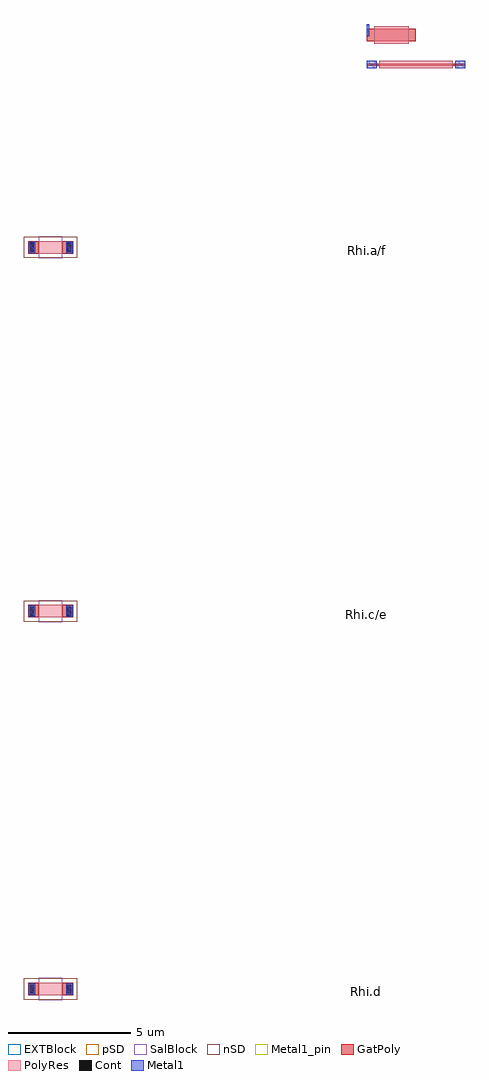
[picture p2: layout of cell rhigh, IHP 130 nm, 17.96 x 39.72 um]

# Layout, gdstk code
import gdstk
lib = gdstk.Library(unit=1e-6, precision=1e-09)
def R(c, l, rs):  # rectangles x0, y0, x1, y1
    for r in rs: c.add(gdstk.rectangle(r[:2], r[2:], *l))
def P(c, l, *ps):  # polygons
    for p in ps: c.add(gdstk.Polygon(p, *l))
GatPoly = (5, 0)
Cont = (6, 0)
nSD = (7, 0)
Metal1 = (8, 0)
Metal1_pin = (8, 2)
pSD = (14, 0)
SalBlock = (28, 0)
EXTBlock = (111, 0)
PolyRes = (128, 0)

rhigh_fail = lib.new_cell('rhigh_fail')
R(rhigh_fail, GatPoly, [(0,0,4,0.08), (0,1,2,1.5)])
R(rhigh_fail, Metal1, [(0,-0.1,0.4,0.2), (3.6,-0.1,4,0.2), (0,1.2,0.1,1.7)])
R(rhigh_fail, PolyRes, [(0.5,-0.1,3.5,0.2), (0.3,0.9,1.7,1.6)])

rhigh_pass = lib.new_cell('rhigh_pass')
R(rhigh_pass, GatPoly, [(-13.775,-37.815,-13.345,-37.315), (-12.385,-37.815,-11.955,-37.315), (-13.775,-22.44,-13.345,-21.94), (-12.385,-22.44,-11.955,-21.94), (-13.775,-7.64,-13.345,-7.14), (-12.385,-7.64,-11.955,-7.14)])
R(rhigh_pass, Cont, [(-13.705,-37.745,-13.545,-37.385), (-12.185,-37.745,-12.025,-37.385), (-13.705,-22.37,-13.545,-22.01), (-12.185,-22.37,-12.025,-22.01), (-13.705,-7.57,-13.545,-7.21), (-12.185,-7.57,-12.025,-7.21)])
R(rhigh_pass, nSD, [(-13.955,-37.995,-11.775,-37.135), (-13.955,-22.62,-11.775,-21.76), (-13.955,-7.82,-11.775,-6.96)])
R(rhigh_pass, Metal1, [(-13.755,-37.795,-13.495,-37.335), (-12.235,-37.795,-11.975,-37.335), (-13.755,-22.42,-13.495,-21.96), (-12.235,-22.42,-11.975,-21.96), (-13.755,-7.62,-13.495,-7.16), (-12.235,-7.62,-11.975,-7.16)])
R(rhigh_pass, Metal1_pin, [(-13.755,-37.795,-13.495,-37.335), (-12.235,-37.795,-11.975,-37.335), (-13.755,-22.42,-13.495,-21.96), (-12.235,-22.42,-11.975,-21.96), (-13.755,-7.62,-13.495,-7.16), (-12.235,-7.62,-11.975,-7.16)])
R(rhigh_pass, pSD, [(-13.955,-37.995,-11.775,-37.135), (-13.955,-22.62,-11.775,-21.76), (-13.955,-7.82,-11.775,-6.96)])
R(rhigh_pass, SalBlock, [(-13.345,-38.015,-12.385,-37.115), (-13.345,-22.64,-12.385,-21.74), (-13.345,-7.84,-12.385,-6.94)])
P(rhigh_pass, EXTBlock, [(-13.345,-38.015),(-13.345,-37.995),(-13.955,-37.995),(-13.955,-37.135),(-13.345,-37.135),(-13.345,-37.115),(-12.385,-37.115),(-12.385,-37.135),(-11.775,-37.135),(-11.775,-37.995),(-12.385,-37.995),(-12.385,-38.015)],
  [(-13.345,-22.64),(-13.345,-22.62),(-13.955,-22.62),(-13.955,-21.76),(-13.345,-21.76),(-13.345,-21.74),(-12.385,-21.74),(-12.385,-21.76),(-11.775,-21.76),(-11.775,-22.62),(-12.385,-22.62),(-12.385,-22.64)],
  [(-13.345,-7.84),(-13.345,-7.82),(-13.955,-7.82),(-13.955,-6.96),(-13.345,-6.96),(-13.345,-6.94),(-12.385,-6.94),(-12.385,-6.96),(-11.775,-6.96),(-11.775,-7.82),(-12.385,-7.82),(-12.385,-7.84)])
R(rhigh_pass, PolyRes, [(-13.345,-37.815,-12.385,-37.315), (-13.345,-22.44,-12.385,-21.94), (-13.345,-7.64,-12.385,-7.14)])

rhigh = lib.new_cell('rhigh')
rhigh.add(gdstk.Reference(rhigh_fail, (0,0)))
rhigh.add(gdstk.Reference(rhigh_pass, (0,0)))
rhigh.add(gdstk.Label('PASS', (-12,5), layer=63, texttype=0))
rhigh.add(gdstk.Label('FAIL', (12,5), layer=63, texttype=0))
rhigh.add(gdstk.Label('6.6_Rhigh', (0,21), layer=63, texttype=0))
rhigh.add(gdstk.Label('Rhi.a/f', (0,-7.51), layer=63, texttype=0))
rhigh.add(gdstk.Label('Rhi.c/e', (0,-22.31), layer=63, texttype=0))
rhigh.add(gdstk.Label('Rhi.d', (0,-37.685), layer=63, texttype=0))

lib.write_gds('rhigh.gds')
